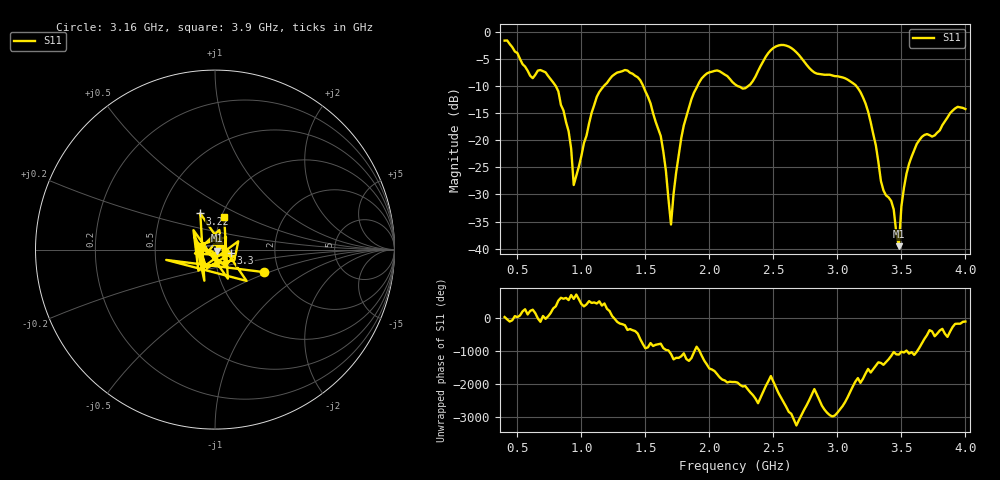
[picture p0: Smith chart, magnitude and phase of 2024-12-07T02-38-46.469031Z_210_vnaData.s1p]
!Created with skrf (http://scikit-rf.org).
# Hz S RI R 50.0
!freq ReS11 ImS11
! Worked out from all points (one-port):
!   181 points, 400 MHz to 4 GHz, reference 50 ohm
!   lowest |S11| = -39.5 dB at 3.48 GHz (marker M1), VSWR 1.02, Z = 50.9 - j0.623 ohm
!   |S11| at or under -10 dB: 799 MHz to 1.176 GHz (377.5 MHz wide, 38.2 % of centre); 1.482 GHz to 1.907 GHz (424.5 MHz wide, 25.1 % of centre); 3.147 GHz to end of sweep (the widest 3 of 4)
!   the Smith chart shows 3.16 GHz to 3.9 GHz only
!   S11 on the Smith chart (normalised r, x): 3.16 GHz: 1.68, -0.46; 3.22 GHz: 0.79, +0.33; 3.3 GHz: 1.19, -0.05; 3.9 GHz: 1.03, +0.39
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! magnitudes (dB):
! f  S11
! 400 MHz  -1.6
! 620 MHz  -8.6
! 720 MHz  -7.5
! 860 MHz  -14.5
! 920 MHz  -21.6
! 940 MHz  -28.3
! 1.12 GHz  -12.0
! 1.3 GHz  -7.4
! 1.54 GHz  -13.2
! 1.62 GHz  -19.3
! 1.7 GHz  -35.5
! 1.76 GHz  -22.8
! 1.94 GHz  -8.6
! 2.2 GHz  -9.7
! 2.32 GHz  -9.7
! 2.52 GHz  -2.7
! 2.66 GHz  -3.4
! 3.1 GHz  -9.2
! 3.16 GHz  -10.4
! 3.22 GHz  -13.2
! 3.3 GHz  -20.9
! 3.36 GHz  -29.3
! 3.44 GHz  -32.8
! 3.48 GHz  -39.5
! 3.5 GHz  -32.2
! 3.56 GHz  -24.4
! 3.9 GHz  -14.6
! 4 GHz  -14.3
